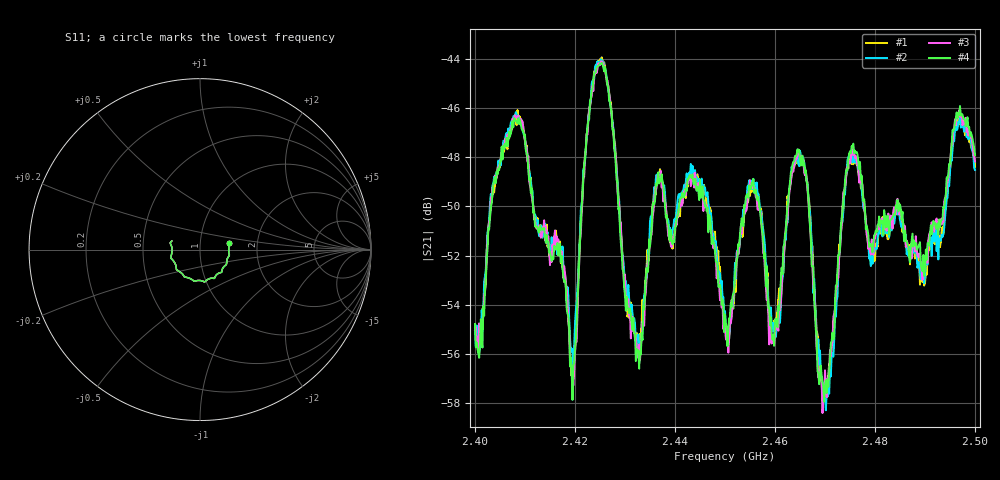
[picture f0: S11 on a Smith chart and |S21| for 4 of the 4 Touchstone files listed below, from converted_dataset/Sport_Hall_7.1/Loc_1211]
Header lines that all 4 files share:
# Hz S RI R 50
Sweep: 2.4 GHz to 2.5 GHz
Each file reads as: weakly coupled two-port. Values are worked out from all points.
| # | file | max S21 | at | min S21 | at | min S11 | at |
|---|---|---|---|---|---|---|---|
| 1 | Lab_139_3Ch1.s2p | -43.92 dB | 2.4253 GHz | -57.9 dB | 2.4695 GHz | -15.7 dB | 2.4932 GHz |
| 2 | Lab_139_4Ch1.s2p | -44.00 dB | 2.4252 GHz | -58.3 dB | 2.4702 GHz | -15.7 dB | 2.493 GHz |
| 3 | Lab_139_5Ch1.s2p | -44.08 dB | 2.4252 GHz | -58.4 dB | 2.4695 GHz | -15.7 dB | 2.4932 GHz |
| 4 | Lab_139_7Ch1.s2p | -44.14 dB | 2.4253 GHz | -58.0 dB | 2.4698 GHz | -15.7 dB | 2.4932 GHz |
